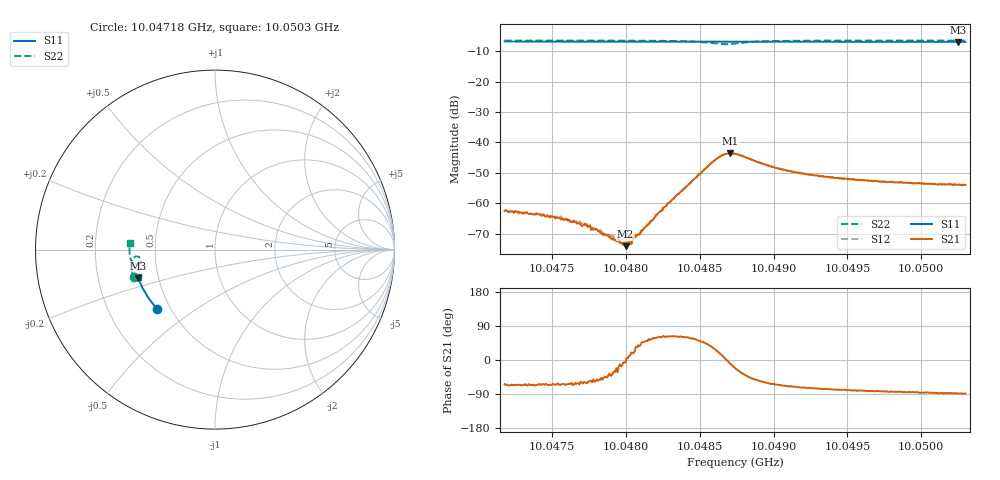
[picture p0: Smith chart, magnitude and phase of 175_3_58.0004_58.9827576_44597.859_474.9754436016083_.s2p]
#  HZ  S  RI  R  50.00
! Rohde & Schwarz Vector Network Analyzer
! Rohde-Schwarz,ZNB20-2Port,1311601062101988,3.16
! Created: UTC 3/21/2024, 12:58:06 AM
! freq[Hz]  re:S11  im:S11  re:S21  im:S21  re:S12  im:S12  re:S22  im:S22
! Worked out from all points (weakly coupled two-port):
!   401 points, 10.04718 GHz to 10.0503 GHz, reference 50 ohm
!   highest |S21| = -43.56 dB at 10.04871 GHz (marker M1); lowest = -74.2 dB at 10.048 GHz (marker M2)
!   lowest |S11| = -6.8 dB at 10.05025 GHz (marker M3), VSWR 2.67, Z = 19.3 - j7.66 ohm
!   |S11| at or under -10 dB: nowhere
!   |S22| runs from -7.6 to -6.4 dB; largest |S21 - S12| = 0.00047
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1.0047178e10  -0.3218 -0.3294  0.000332 -0.00067  0.00036 -0.000695  -0.4535 -0.155
1.0047412e10  -0.3322 -0.318  0.000291 -0.00058  0.00032 -0.000574  -0.4579 -0.1392
1.0047583e10  -0.3397 -0.3093  0.000242 -0.000488  0.000277 -0.000464  -0.4609 -0.1274
1.0047701e10  -0.3449 -0.3034  0.000217 -0.00036  0.000253 -0.000396  -0.4626 -0.119
1.004774e10  -0.3463 -0.3016  0.000203 -0.000357  0.000252 -0.000335  -0.4632 -0.1161
1.0047779e10  -0.3481 -0.2995  0.000228 -0.000284  0.000225 -0.000322  -0.4638 -0.1133
1.0047864e10  -0.3515 -0.295  0.000213 -0.000217  0.000225 -0.000195  -0.4648 -0.1067
1.0047903e10  -0.3532 -0.2929  0.000191 -0.000166  0.000209 -0.000132  -0.4652 -0.1037
1.0047966e10  -0.3557 -0.2896  0.000209 -6.23e-05  0.0002 -6.14e-05  -0.4659 -0.0987
1.0047997e10  -0.3569 -0.2879  0.000194 -2.32e-05  0.000222 -8.8e-07  -0.4661 -0.096
1.0048021e10  -0.3578 -0.2867  0.000203 3.8e-05  0.000244 5.32e-05  -0.4663 -0.0941
1.0048044e10  -0.3587 -0.2855  0.000244 7.74e-05  0.000205 9.29e-05  -0.4664 -0.0923
1.0048223e10  -0.3657 -0.2759  0.00035 0.000609  0.000315 0.000626  -0.4664 -0.0758
1.004859e10  -0.379 -0.2556  0.00413 0.00256  0.00397 0.00281  -0.43 -0.0387
1.0048653e10  -0.3809 -0.2522  0.00603 0.0012  0.006 0.00155  -0.4137 -0.0508
1.0048707e10  -0.3828 -0.2494  0.00654 -0.00114  0.00663 -0.000754  -0.4129 -0.0705
1.0048739e10  -0.3839 -0.2476  0.00605 -0.00234  0.00625 -0.00196  -0.4191 -0.0795
1.0049035e10  -0.3941 -0.2311  0.00152 -0.00336  0.00173 -0.0033  -0.4663 -0.0639
1.0049262e10  -0.4011 -0.2179  0.000783 -0.00281  0.000941 -0.00275  -0.473 -0.0422
1.0049784e10  -0.4158 -0.1864  0.000219 -0.00223  0.000374 -0.0022  -0.4767 -0.00138
1.0050253e10  -0.4265 -0.1577  5.8e-05 -0.00201  0.000185 -0.00201  -0.4756 0.0315
1.00503e10  -0.4276 -0.1547  4.53e-05 -0.00199  0.000142 -0.00201  -0.4754 0.0347
